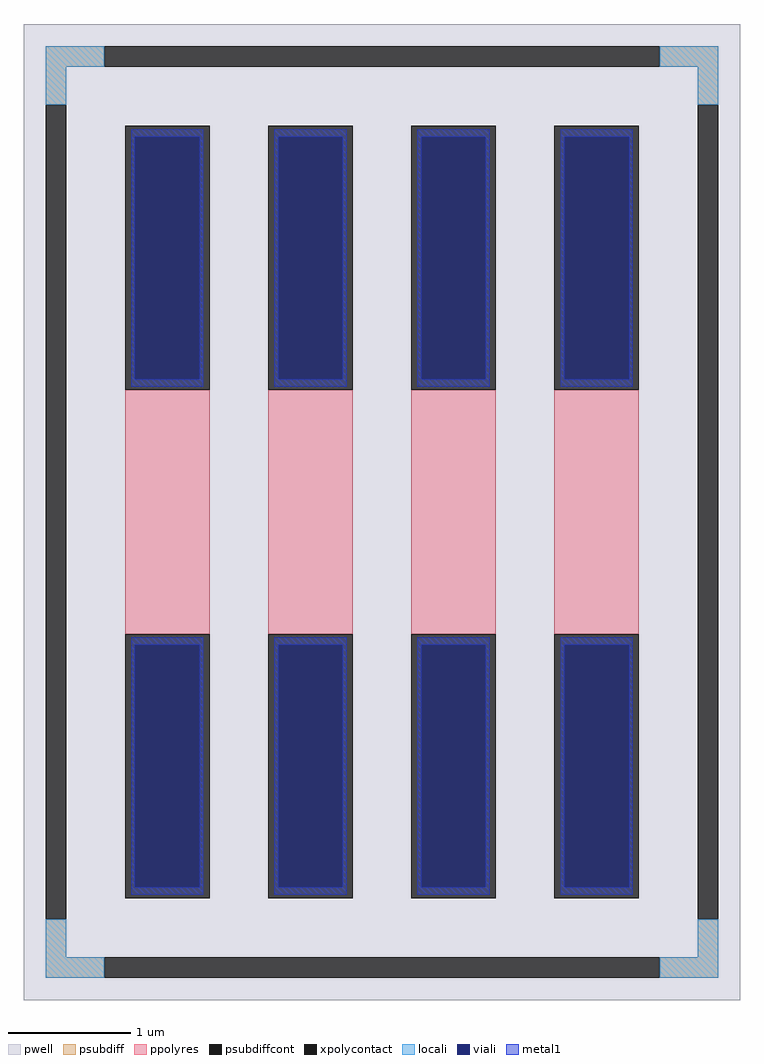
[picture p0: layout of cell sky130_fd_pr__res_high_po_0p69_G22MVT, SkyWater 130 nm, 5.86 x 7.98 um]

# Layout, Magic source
magic
tech sky130A
magscale 1 2
<< pwell >>
rect -586 -798 586 798
<< psubdiff >>
rect -550 728 -454 762
rect 454 728 550 762
rect -550 666 -516 728
rect 516 666 550 728
rect -550 -728 -516 -666
rect 516 -728 550 -666
rect -550 -762 -454 -728
rect 454 -762 550 -728
<< psubdiffcont >>
rect -454 728 454 762
rect -550 -666 -516 666
rect 516 -666 550 666
rect -454 -762 454 -728
<< xpolycontact >>
rect -420 200 -282 632
rect -420 -632 -282 -200
rect -186 200 -48 632
rect -186 -632 -48 -200
rect 48 200 186 632
rect 48 -632 186 -200
rect 282 200 420 632
rect 282 -632 420 -200
<< ppolyres >>
rect -420 -200 -282 200
rect -186 -200 -48 200
rect 48 -200 186 200
rect 282 -200 420 200
<< locali >>
rect -550 728 -454 762
rect 454 728 550 762
rect -550 666 -516 728
rect 516 666 550 728
rect -550 -728 -516 -666
rect 516 -728 550 -666
rect -550 -762 -454 -728
rect 454 -762 550 -728
<< viali >>
rect -404 217 -298 614
rect -170 217 -64 614
rect 64 217 170 614
rect 298 217 404 614
rect -404 -614 -298 -217
rect -170 -614 -64 -217
rect 64 -614 170 -217
rect 298 -614 404 -217
<< metal1 >>
rect -410 614 -292 626
rect -410 217 -404 614
rect -298 217 -292 614
rect -410 205 -292 217
rect -176 614 -58 626
rect -176 217 -170 614
rect -64 217 -58 614
rect -176 205 -58 217
rect 58 614 176 626
rect 58 217 64 614
rect 170 217 176 614
rect 58 205 176 217
rect 292 614 410 626
rect 292 217 298 614
rect 404 217 410 614
rect 292 205 410 217
rect -410 -217 -292 -205
rect -410 -614 -404 -217
rect -298 -614 -292 -217
rect -410 -626 -292 -614
rect -176 -217 -58 -205
rect -176 -614 -170 -217
rect -64 -614 -58 -217
rect -176 -626 -58 -614
rect 58 -217 176 -205
rect 58 -614 64 -217
rect 170 -614 176 -217
rect 58 -626 176 -614
rect 292 -217 410 -205
rect 292 -614 298 -217
rect 404 -614 410 -217
rect 292 -626 410 -614
<< properties >>
string FIXED_BBOX -533 -745 533 745
string gencell sky130_fd_pr__res_high_po_0p69
string library sky130
string parameters w 0.690 l 2 m 1 nx 4 wmin 0.690 lmin 0.50 rho 319.8 val 1.491k dummy 0 dw 0.0 term 194.82 sterm 0.0 caplen 0 guard 1 glc 1 grc 1 gtc 1 gbc 1 compatible {sky130_fd_pr__res_high_po_0p35  sky130_fd_pr__res_high_po_0p69 sky130_fd_pr__res_high_po_1p41  sky130_fd_pr__res_high_po_2p85 sky130_fd_pr__res_high_po_5p73} snake 0 full_metal 1 wmax 0.690 n_guard 0 hv_guard 0 vias 1 viagb 0 viagt 0 viagl 0 viagr 0
string sky130_fd_pr__res_high_po_0p69_G22MVT gencell
<< end >>
